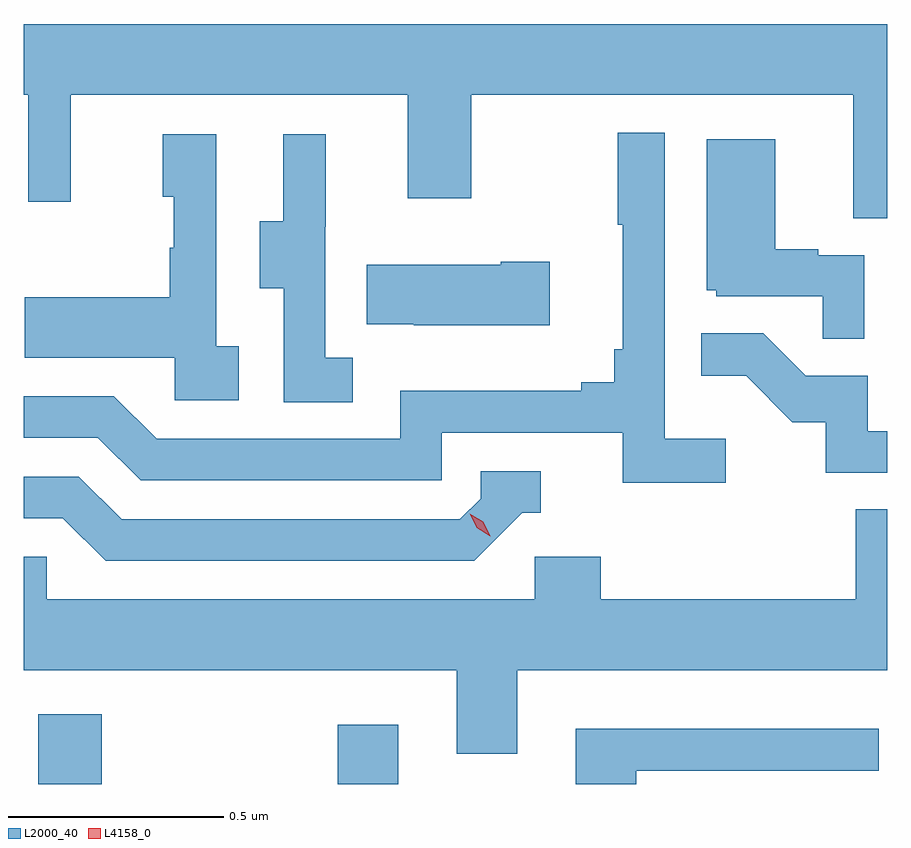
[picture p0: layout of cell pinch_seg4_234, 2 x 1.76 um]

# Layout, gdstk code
import gdstk
lib = gdstk.Library(unit=1e-6, precision=1e-09)
def R(c, l, rs):  # rectangles x0, y0, x1, y1
    for r in rs: c.add(gdstk.rectangle(r[:2], r[2:], *l))
def P(c, l, *ps):  # polygons
    for p in ps: c.add(gdstk.Polygon(p, *l))
L2000_40 = (2000, 40)
L4158_0 = (4158, 0)

pinch_seg4_234 = lib.new_cell('pinch_seg4_234')
R(pinch_seg4_234, L2000_40, [(994.52,817.868,994.667,818.029), (995.213,817.868,995.353,818.005)])
P(pinch_seg4_234, L2000_40, [(996.486,819.628),(994.486,819.628),(994.486,819.464),(994.497,819.464),(994.497,819.216),(994.595,819.216),(994.595,819.464),(995.375,819.464),(995.375,819.225),(995.523,819.225),(995.523,819.464),(996.407,819.464),(996.407,819.178),(996.486,819.178)],
  [(996.112,818.668),(995.97,818.668),(995.97,819.376),(995.862,819.376),(995.862,819.163),(995.873,819.163),(995.873,818.875),(995.854,818.875),(995.854,818.798),(995.777,818.798),(995.777,818.779),(995.358,818.779),(995.358,818.667),(994.794,818.667),(994.695,818.766),(994.486,818.766),(994.486,818.67),(994.658,818.67),(994.757,818.571),(995.454,818.571),(995.454,818.682),(995.873,818.682),(995.873,818.566),(996.112,818.566)],
  [(995.248,818.855),(995.184,818.855),(995.184,819.159),(995.186,819.159),(995.186,819.373),(995.087,819.373),(995.087,819.171),(995.033,819.171),(995.033,819.016),(995.088,819.016),(995.088,818.752),(995.248,818.752)],
  [(994.984,818.882),(994.932,818.882),(994.932,819.373),(994.808,819.373),(994.808,819.228),(994.834,819.228),(994.834,819.11),(994.824,819.11),(994.824,818.995),(994.489,818.995),(994.489,818.855),(994.836,818.855),(994.836,818.757),(994.984,818.757)],
  [(996.432,819.093),(996.326,819.093),(996.326,819.106),(996.226,819.106),(996.226,819.361),(996.068,819.361),(996.068,819.012),(996.09,819.012),(996.09,818.997),(996.337,818.997),(996.337,818.899),(996.432,818.899)],
  [(995.704,819.078),(995.591,819.078),(995.591,819.07),(995.281,819.07),(995.281,818.933),(995.389,818.933),(995.389,818.93),(995.704,818.93)],
  [(996.486,818.685),(996.441,818.685),(996.441,818.814),(996.297,818.814),(996.199,818.912),(996.055,818.912),(996.055,818.813),(996.159,818.813),(996.266,818.706),(996.343,818.706),(996.343,818.589),(996.486,818.589)],
  [(995.64,818.496),(995.683,818.496),(995.683,818.592),(995.544,818.592),(995.544,818.529),(995.496,818.481),(994.713,818.481),(994.614,818.58),(994.486,818.58),(994.486,818.484),(994.577,818.484),(994.676,818.385),(995.529,818.385)],
  [(995.629,818.132),(996.486,818.132),(996.486,818.504),(996.413,818.504),(996.413,818.296),(995.822,818.296),(995.822,818.394),(995.67,818.394),(995.67,818.296),(994.539,818.296),(994.539,818.394),(994.486,818.394),(994.486,818.132),(995.489,818.132),(995.489,817.938),(995.629,817.938)],
  [(995.905,817.899),(996.466,817.899),(996.466,817.996),(995.765,817.996),(995.765,817.868),(995.905,817.868)])
P(pinch_seg4_234, L4158_0, [(995.566,818.442),(995.535,818.461),(995.519,818.494),(995.519,818.494),(995.519,818.494),(995.55,818.475),(995.566,818.442),(995.566,818.442)])

lib.write_gds('pinch_seg4_234.gds')
